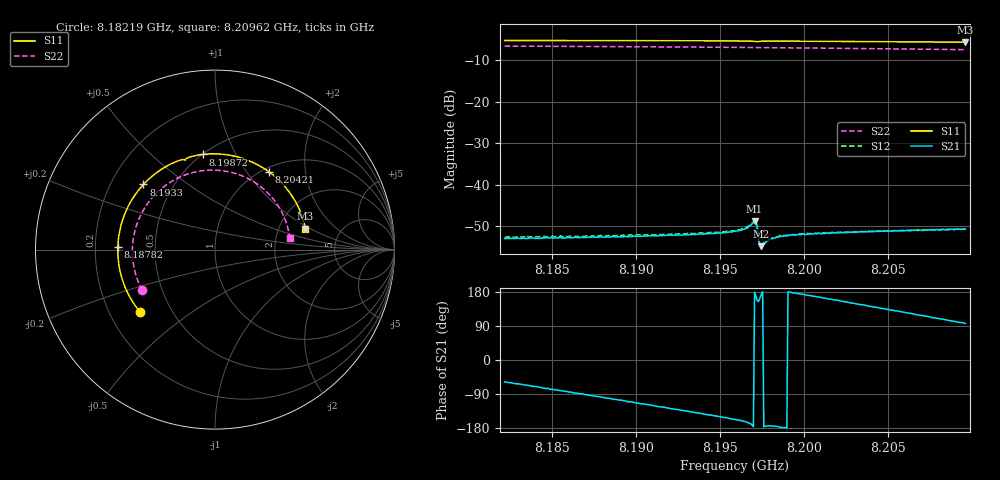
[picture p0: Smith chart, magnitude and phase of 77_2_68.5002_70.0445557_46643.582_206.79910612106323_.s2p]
#  HZ  S  RI  R  50.00
! Rohde & Schwarz Vector Network Analyzer
! Rohde-Schwarz,ZNB20-2Port,1311601062101988,3.16
! Created: UTC 3/20/2024, 5:07:08 PM
! freq[Hz]  re:S11  im:S11  re:S21  im:S21  re:S12  im:S12  re:S22  im:S22
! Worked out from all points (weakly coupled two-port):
!   401 points, 8.18219 GHz to 8.20962 GHz, reference 50 ohm
!   highest |S21| = -48.79 dB at 8.19707 GHz (marker M1); lowest = -54.8 dB at 8.19749 GHz (marker M2)
!   lowest |S11| = -5.7 dB at 8.20962 GHz (marker M3), VSWR 3.15, Z = 141 + j45.1 ohm
!   |S11| at or under -10 dB: nowhere
!   |S22| runs from -7.5 to -6.7 dB; largest |S21 - S12| = 0.00018
!   S11 on the Smith chart (normalised r, x): 8.18219 GHz: 0.33, -0.33; 8.18782 GHz: 0.30, +0.01; 8.1933 GHz: 0.34, +0.35; 8.19872 GHz: 0.50, +0.75; 8.20421 GHz: 1.07, +1.28; 8.20962 GHz: 2.82, +0.90
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8.182195e9  -0.4173 -0.3479  0.0012 -0.00191  0.0012 -0.00199  -0.4055 -0.2268
8.184595e9  -0.5025 -0.2051  0.000611 -0.0022  0.000606 -0.00233  -0.4509 -0.1017
8.186789e9  -0.5391 -0.0571  2.5e-05 -0.00234  -2.35e-05 -0.00242  -0.4595 0.0197
8.187818e9  -0.5415 0.0147  -0.000293 -0.00232  -0.000371 -0.00241  -0.4525 0.0767
8.189601e9  -0.5232 0.1378  -0.000823 -0.00223  -0.000862 -0.00232  -0.4236 0.1713
8.191383e9  -0.477 0.2537  -0.00135 -0.00205  -0.00142 -0.0021  -0.375 0.2575
8.193303e9  -0.3986 0.363  -0.00185 -0.0017  -0.00196 -0.00172  -0.3026 0.3362
8.195909e9  -0.2527 0.4737  -0.00254 -0.00108  -0.00263 -0.00104  -0.1785 0.4116
8.196526e9  -0.2122 0.4921  -0.00284 -0.000895  -0.00292 -0.000783  -0.1458 0.4231
8.197075e9  -0.1713 0.501  -0.00364 9.47e-05  -0.0037 0.000251  -0.1157 0.4311
8.197143e9  -0.1672 0.4993  -0.00356 0.000624  -0.0036 0.000797  -0.112 0.4319
8.197418e9  -0.1599 0.5066  -0.00179 0.00045  -0.0018 0.000523  -0.0973 0.4351
8.197486e9  -0.1553 0.5097  -0.00182 0.000167  -0.00184 0.000207  -0.0935 0.436
8.197555e9  -0.1503 0.512  -0.00185 2.23e-06  -0.00188 0.000104  -0.0896 0.4366
8.198103e9  -0.1107 0.5234  -0.00224 -0.000217  -0.00229 -0.000134  -0.0587 0.4409
8.19872e9  -0.0669 0.5302  -0.00241 -5.87e-05  -0.00244 1.77e-05  -0.0238 0.4432
8.200503e9  0.0592 0.5293  -0.00251 0.000488  -0.00252 0.000607  0.0771 0.4336
8.202423e9  0.1902 0.4947  -0.00242 0.00119  -0.00236 0.00127  0.1806 0.3975
8.204206e9  0.3002 0.4336  -0.00212 0.00178  -0.00207 0.00184  0.2667 0.341
8.205098e9  0.3491 0.3935  -0.00188 0.00202  -0.00185 0.0021  0.3042 0.3053
8.207498e9  0.4528 0.259  -0.00117 0.00262  -0.00106 0.00268  0.3821 0.1878
8.209623e9  0.5041 0.117  -0.000324 0.0029  -0.000252 0.00296  0.4161 0.0654
